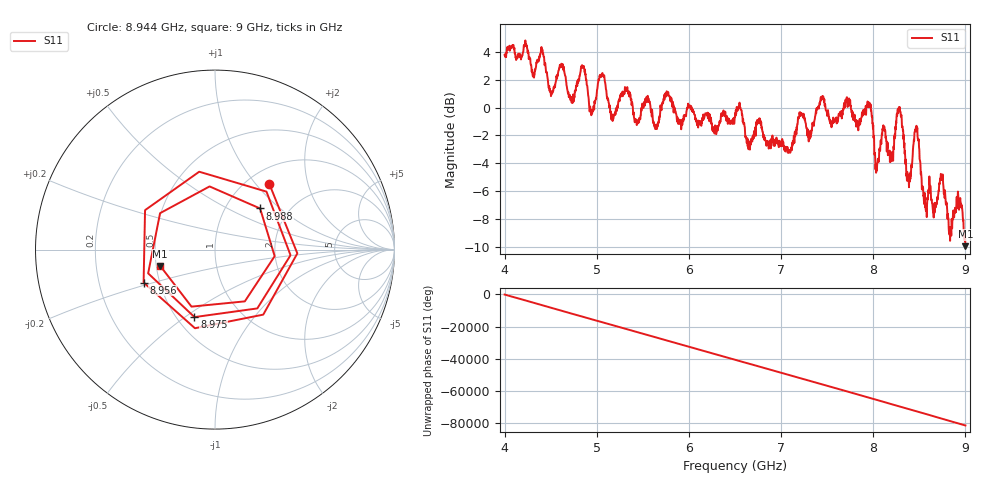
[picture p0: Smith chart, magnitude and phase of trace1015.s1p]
! Created with skrf 1.8.0 (http://scikit-rf.org).
# Hz S RI R 50.0
!freq ReS11 ImS11
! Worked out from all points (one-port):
!   1601 points, 4 GHz to 9 GHz, reference 50 ohm
!   lowest |S11| = -9.9 dB at 9 GHz (marker M1), VSWR 1.93, Z = 26.2 - j5.3 ohm
!   |S11| at or under -10 dB: nowhere
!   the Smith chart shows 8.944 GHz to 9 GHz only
!   S11 on the Smith chart (normalised r, x): 8.944 GHz: 1.26, +1.18; 8.956 GHz: 0.41, -0.18; 8.975 GHz: 0.61, -0.54; 8.988 GHz: 1.44, +0.75; 9 GHz: 0.52, -0.11
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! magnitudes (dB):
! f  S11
! 4 GHz  3.8
! 4.403 GHz  4.1
! 4.503 GHz  0.8
! 4.625 GHz  2.9
! 4.734 GHz  0.4
! 4.853 GHz  3.0
! 4.944 GHz  -0.2
! 5.056 GHz  2.4
! 5.169 GHz  -0.9
! 5.25 GHz  0.7
! 5.875 GHz  -0.7
! 6.5 GHz  -0.7
! 7.125 GHz  -2.6
! 7.444 GHz  0.6
! 7.75 GHz  0.5
! 7.956 GHz  0.2
! 8.038 GHz  -4.5
! 8.116 GHz  -1.5
! 8.2 GHz  -3.8
! 8.284 GHz  -0.2
! 8.375 GHz  -4.9
! 8.469 GHz  -1.3
! 8.569 GHz  -7.3
! 8.944 GHz  -6.5
! 8.956 GHz  -7.2
! 8.975 GHz  -8.1
! 8.988 GHz  -9.4
! 9 GHz  -9.9
